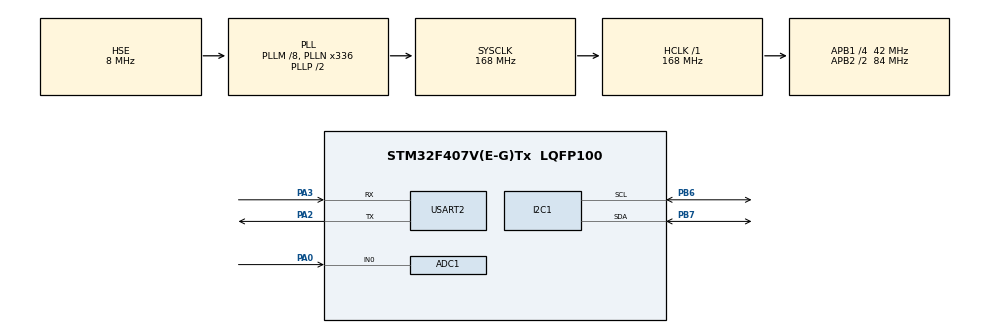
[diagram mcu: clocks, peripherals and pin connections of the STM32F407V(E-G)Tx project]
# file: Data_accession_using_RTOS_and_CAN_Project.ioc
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ADC1.Channel-0\#ChannelRegularConversion=ADC_CHANNEL_0
ADC1.NbrOfConversionFlag=1
ADC1.Rank-0\#ChannelRegularConversion=1
ADC1.SamplingTime-0\#ChannelRegularConversion=ADC_SAMPLETIME_3CYCLES
ADC1.master=1
FREERTOS.INCLUDE_vTaskDelayUntil=1
FREERTOS.Tasks01=defaultTask,-3,128,StartDefaultTask,Default,NULL,Dynamic,NULL,NULL
FREERTOS.configUSE_NEWLIB_REENTRANT=1
Mcu.Family=STM32F4
Mcu.Name=STM32F407V(E-G)Tx
Mcu.Package=LQFP100
NVIC.PriorityGroup=NVIC_PRIORITYGROUP_4
NVIC.TIM1_UP_TIM10_IRQn=true\:15\:0\:false\:false\:true\:false\:false\:true\:true
NVIC.TimeBase=TIM1_UP_TIM10_IRQn
NVIC.TimeBaseIP=TIM1
PA0-WKUP.Signal=ADCx_IN0
PA2.Mode=Asynchronous
PA2.Signal=USART2_TX
PA3.Mode=Asynchronous
PA3.Signal=USART2_RX
PB6.Mode=I2C
PB6.Signal=I2C1_SCL
PB7.Mode=I2C
PB7.Signal=I2C1_SDA
PH0-OSC_IN.Mode=HSE-External-Oscillator
PH0-OSC_IN.Signal=RCC_OSC_IN
PH1-OSC_OUT.Mode=HSE-External-Oscillator
PH1-OSC_OUT.Signal=RCC_OSC_OUT
ProjectManager.HeapSize=0x200
ProjectManager.StackSize=0x400
ProjectManager.TargetToolchain=STM32CubeIDE
RCC.48MHZClocksFreq_Value=48000000
RCC.AHBFreq_Value=168000000
RCC.APB1CLKDivider=RCC_HCLK_DIV4
RCC.APB1Freq_Value=42000000
RCC.APB1TimFreq_Value=84000000
RCC.APB2CLKDivider=RCC_HCLK_DIV2
RCC.APB2Freq_Value=84000000
RCC.APB2TimFreq_Value=168000000
RCC.CortexFreq_Value=168000000
RCC.HCLKFreq_Value=168000000
RCC.HSE_VALUE=8000000
RCC.HSI_VALUE=16000000
RCC.PLLM=8
RCC.PLLN=336
RCC.PLLQ=7
RCC.PLLSourceVirtual=RCC_PLLSOURCE_HSE
RCC.SYSCLKFreq_VALUE=168000000
RCC.SYSCLKSource=RCC_SYSCLKSOURCE_PLLCLK
RCC.VCOOutputFreq_Value=336000000
SH.ADCx_IN0.0=ADC1_IN0,IN0
USART2.VirtualMode=VM_ASYNC
VP_FREERTOS_VS_CMSIS_V1.Mode=CMSIS_V1
VP_SYS_VS_tim1.Mode=TIM1
board=STM32F407G-DISC1

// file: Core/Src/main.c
/* USER CODE BEGIN Header */
/**
 ******************************************************************************
 * @file           : main.c
 * @brief          : Main program body
 ******************************************************************************
 * @attention
 *
 * Copyright (c) 2024 STMicroelectronics.
 * All rights reserved.
 *
 * This software is licensed under terms that can be found in the LICENSE file
 * in the root directory of this software component.
 * If no LICENSE file comes with this software, it is provided AS-IS.
 *
 ******************************************************************************
 */
/* USER CODE END Header */
#include "main.h"
#include "cmsis_os.h"

/* USER CODE BEGIN Includes */
#include "bme68x_necessary_functions.h"
#include <string.h>
#include <stdio.h>
#include <math.h>
/* USER CODE END Includes */

/* USER CODE BEGIN PTD */
typedef struct {
	char message[200];
	int source; // 1 = MQ-135, 2 = BME680
} QueueMessage_t;
/* USER CODE END PTD */

ADC_HandleTypeDef hadc1;

I2C_HandleTypeDef hi2c1;

UART_HandleTypeDef huart2;

osThreadId defaultTaskHandle;
/* USER CODE BEGIN PV */
QueueHandle_t xQueue;
/* USER CODE END PV */

void SystemClock_Config(void);
static void MX_GPIO_Init(void);
static void MX_I2C1_Init(void);
static void MX_ADC1_Init(void);
static void MX_USART2_UART_Init(void);
void StartDefaultTask(void const *argument);

/* USER CODE BEGIN PFP */

void vSensorTask(void *pvParam);
void vMQ135Task(void *pvParam);
void vUARTTask(void *pvParam);

/* USER CODE END PFP */

/* Calibration constants */
#define A 116.6020682 // Calibration constant for CO2
#define B 2.211       // Calibration constant for CO2
#define R_L 10.0      // Load resistor value in kOhms
#define R0 76.63      // Pre-calibrated value of R0 in clean air

/* USER CODE BEGIN 0 */
/* USER CODE BEGIN 0 */
void vSensorTask(void *pvParam) {
	struct bme68x_data sensorData;
	bme68x_start(&sensorData, &hi2c1);
	QueueMessage_t msg;

	while (1) {
		if (bme68x_single_measure(&sensorData) == 0) {
			float iaq_score = bme68x_iaq();
			snprintf(msg.message, sizeof(msg.message),
					"Temperature (\u00B0C): %.2f, Pressure (Pa): %.2f, Humidity (%%): %.2f, Gas Resistance (Ohms): %.2f, IAQ Score: %.2f\r\n",
					sensorData.temperature, sensorData.pressure,
					sensorData.humidity, sensorData.gas_resistance, iaq_score);
			msg.source = 2; // BME680
			xQueueSend(xQueue, &msg, portMAX_DELAY);
		}
		vTaskDelay(2000 / portTICK_RATE_MS);
	}
}

/* Task for MQ-135 gas sensor data reading */

void vMQ135Task(void *pvParam) {
	uint32_t adcValue;
	float Rs, ratio, concentration;
	QueueMessage_t msg;

	while (1) {
		HAL_ADC_Start(&hadc1);

		if (HAL_ADC_PollForConversion(&hadc1, HAL_MAX_DELAY) == HAL_OK) {
			adcValue = HAL_ADC_GetValue(&hadc1);

			if (adcValue != 0) {
				Rs = R_L * ((4095.0 - adcValue) / adcValue);
				ratio = Rs / R0;
				concentration = A * pow(ratio, -B);
			} else {
				Rs = 0;
				concentration = 0;
			}

			snprintf(msg.message, sizeof(msg.message),
					"MQ-135 ADC Value: %lu, Rs: %.2f kOhms, Concentration: %.2f ppm\r\n",
					adcValue, Rs, concentration);
			msg.source = 1; // MQ-135
			xQueueSend(xQueue, &msg, portMAX_DELAY);
		}

		HAL_ADC_Stop(&hadc1);
		vTaskDelay(2500 / portTICK_RATE_MS);
	}
}

void vUARTTask(void *pvParam) {
    QueueMessage_t receivedMsg;
    int lastSource = 0; // Track the last message source

    while (1) {
        // Receive a message from the queue
        if (xQueueReceive(xQueue, &receivedMsg, portMAX_DELAY) == pdPASS) {
            // Check if the source of the message is different from the last processed source
            if (receivedMsg.source != lastSource || uxQueueMessagesWaiting(xQueue) == 0) {
                // Transmit the message via UART
                HAL_UART_Transmit(&huart2, (uint8_t*)receivedMsg.message, strlen(receivedMsg.message), HAL_MAX_DELAY);
                lastSource = receivedMsg.source; // Update the last source
            }
        }
    }
}

/* USER CODE END 0 */

int main(void) {

	/* USER CODE BEGIN 1 */
	BaseType_t ret;
	/* USER CODE END 1 */

	/* MCU Configuration--------------------------------------------------------*/

	/* Reset of all peripherals, Initializes the Flash interface and the Systick. */
	HAL_Init();

	/* Configure the system clock */
	SystemClock_Config();

	/* Initialize all configured peripherals */
	MX_GPIO_Init();
	MX_I2C1_Init();
	MX_ADC1_Init();
	MX_USART2_UART_Init();

	/* USER CODE BEGIN RTOS_QUEUES */
	xQueue = xQueueCreate(10, sizeof(QueueMessage_t)); // Queue can hold up to 10 messages
	if (xQueue == NULL) {
	    Error_Handler(); // Handle queue creation failure
	}

	/* USER CODE END RTOS_QUEUES */

	/* Create the thread(s) */
	/* definition and creation of defaultTask */
	osThreadDef(defaultTask, StartDefaultTask, osPriorityIdle, 0, 128);
	defaultTaskHandle = osThreadCreate(osThread(defaultTask), NULL);

	ret = xTaskCreate(vSensorTask, "SensorTask", configMINIMAL_STACK_SIZE + 256, NULL, 4, NULL);
	if (ret != pdTRUE)
	    Error_Handler();

	ret = xTaskCreate(vMQ135Task, "MQ135Task", configMINIMAL_STACK_SIZE + 256, NULL, 3, NULL); // Lower priority
	if (ret != pdTRUE)
	    Error_Handler();

	ret = xTaskCreate(vUARTTask, "UARTTask", configMINIMAL_STACK_SIZE + 256, NULL, 5, NULL); // Higher priority
	if (ret != pdTRUE)
	    Error_Handler();

	/* Start scheduler */
	osKernelStart();

	/* We should never get here as control is now taken by the scheduler */

	/* Infinite loop */
	while (1) {

	}
}

void SystemClock_Config(void) {
	RCC_OscInitTypeDef RCC_OscInitStruct = { 0 };
	RCC_ClkInitTypeDef RCC_ClkInitStruct = { 0 };

	/** Configure the main internal regulator output voltage
	 */
	__HAL_RCC_PWR_CLK_ENABLE();
	__HAL_PWR_VOLTAGESCALING_CONFIG(PWR_REGULATOR_VOLTAGE_SCALE1);

	/** Initializes the RCC Oscillators according to the specified parameters
	 * in the RCC_OscInitTypeDef structure.
	 */
	RCC_OscInitStruct.OscillatorType = RCC_OSCILLATORTYPE_HSE;
	RCC_OscInitStruct.HSEState = RCC_HSE_ON;
	RCC_OscInitStruct.PLL.PLLState = RCC_PLL_ON;
	RCC_OscInitStruct.PLL.PLLSource = RCC_PLLSOURCE_HSE;
	RCC_OscInitStruct.PLL.PLLM = 8;
	RCC_OscInitStruct.PLL.PLLN = 336;
	RCC_OscInitStruct.PLL.PLLP = RCC_PLLP_DIV2;
	RCC_OscInitStruct.PLL.PLLQ = 7;
	if (HAL_RCC_OscConfig(&RCC_OscInitStruct) != HAL_OK) {
		Error_Handler();
	}

	/** Initializes the CPU, AHB and APB buses clocks
	 */
	RCC_ClkInitStruct.ClockType = RCC_CLOCKTYPE_HCLK | RCC_CLOCKTYPE_SYSCLK
			| RCC_CLOCKTYPE_PCLK1 | RCC_CLOCKTYPE_PCLK2;
	RCC_ClkInitStruct.SYSCLKSource = RCC_SYSCLKSOURCE_PLLCLK;
	RCC_ClkInitStruct.AHBCLKDivider = RCC_SYSCLK_DIV1;
	RCC_ClkInitStruct.APB1CLKDivider = RCC_HCLK_DIV4;
	RCC_ClkInitStruct.APB2CLKDivider = RCC_HCLK_DIV2;

	if (HAL_RCC_ClockConfig(&RCC_ClkInitStruct, FLASH_LATENCY_5) != HAL_OK) {
		Error_Handler();
	}
}

static void MX_ADC1_Init(void) {

	ADC_ChannelConfTypeDef sConfig = { 0 };

	/** Configure the global features of the ADC (Clock, Resolution, Data Alignment and number of conversion)
	 */
	hadc1.Instance = ADC1;
	hadc1.Init.ClockPrescaler = ADC_CLOCK_SYNC_PCLK_DIV4;
	hadc1.Init.Resolution = ADC_RESOLUTION_12B;
	hadc1.Init.ScanConvMode = DISABLE;
	hadc1.Init.ContinuousConvMode = DISABLE;
	hadc1.Init.DiscontinuousConvMode = DISABLE;
	hadc1.Init.ExternalTrigConvEdge = ADC_EXTERNALTRIGCONVEDGE_NONE;
	hadc1.Init.ExternalTrigConv = ADC_SOFTWARE_START;
	hadc1.Init.DataAlign = ADC_DATAALIGN_RIGHT;
	hadc1.Init.NbrOfConversion = 1;
	hadc1.Init.DMAContinuousRequests = DISABLE;
	hadc1.Init.EOCSelection = ADC_EOC_SINGLE_CONV;
	if (HAL_ADC_Init(&hadc1) != HAL_OK) {
		Error_Handler();
	}

	/** Configure for the selected ADC regular channel its corresponding rank in the sequencer and its sample time.
	 */
	sConfig.Channel = ADC_CHANNEL_0;
	sConfig.Rank = 1;
	sConfig.SamplingTime = ADC_SAMPLETIME_3CYCLES;
	if (HAL_ADC_ConfigChannel(&hadc1, &sConfig) != HAL_OK) {
		Error_Handler();
	}

}

static void MX_I2C1_Init(void) {

	hi2c1.Instance = I2C1;
	hi2c1.Init.ClockSpeed = 100000;
	hi2c1.Init.DutyCycle = I2C_DUTYCYCLE_2;
	hi2c1.Init.OwnAddress1 = 0;
	hi2c1.Init.AddressingMode = I2C_ADDRESSINGMODE_7BIT;
	hi2c1.Init.DualAddressMode = I2C_DUALADDRESS_DISABLE;
	hi2c1.Init.OwnAddress2 = 0;
	hi2c1.Init.GeneralCallMode = I2C_GENERALCALL_DISABLE;
	hi2c1.Init.NoStretchMode = I2C_NOSTRETCH_DISABLE;
	if (HAL_I2C_Init(&hi2c1) != HAL_OK) {
		Error_Handler();
	}

}

static void MX_USART2_UART_Init(void) {

	huart2.Instance = USART2;
	huart2.Init.BaudRate = 115200;
	huart2.Init.WordLength = UART_WORDLENGTH_8B;
	huart2.Init.StopBits = UART_STOPBITS_1;
	huart2.Init.Parity = UART_PARITY_NONE;
	huart2.Init.Mode = UART_MODE_TX_RX;
	huart2.Init.HwFlowCtl = UART_HWCONTROL_NONE;
	huart2.Init.OverSampling = UART_OVERSAMPLING_16;
	if (HAL_UART_Init(&huart2) != HAL_OK) {
		Error_Handler();
	}

}

static void MX_GPIO_Init(void) {

	/* GPIO Ports Clock Enable */
	__HAL_RCC_GPIOH_CLK_ENABLE();
	__HAL_RCC_GPIOA_CLK_ENABLE();
	__HAL_RCC_GPIOB_CLK_ENABLE();

}

void StartDefaultTask(void const *argument) {
	for (;;) {
		osDelay(1);
	}
}

void HAL_TIM_PeriodElapsedCallback(TIM_HandleTypeDef *htim) {
	if (htim->Instance == TIM1) {
		HAL_IncTick();
	}
}

void Error_Handler(void) {
	__disable_irq();
	while (1) {
	}
}
